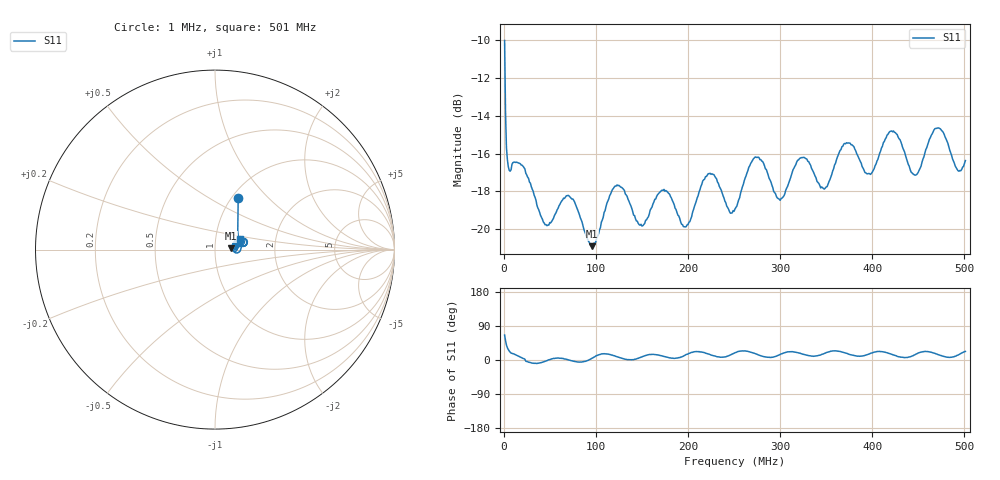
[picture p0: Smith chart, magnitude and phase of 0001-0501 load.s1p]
! NanoVNA-App by SYSJOINT et al v1.1.209 (+OD18)
! Date: 2025-09-17 10:01:50
! Start: 1MHz Stop: 501MHz Points: 501
! S-Parameter data: F S11
# Hz S RI R 50
!  Frequency  S11_Real  S11_Imag
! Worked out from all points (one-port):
!   501 points, 1 MHz to 501 MHz, reference 50 ohm
!   lowest |S11| = -20.9 dB at 96 MHz (marker M1), VSWR 1.20, Z = 59.9 + j0.918 ohm
!   |S11| at or under -10 dB: 1 MHz to end of sweep
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1000000  0.1293 0.2886
4000000  0.1291 0.0821
6000000  0.1311 0.0578
2.1e7  0.1465 0.0108
4.6e7  0.1028 -0.00457
6.4e7  0.1194 0.00792
7.6e7  0.1191 -0.00695
9.6e7  0.0899 0.00761
1.26e8  0.1293 0.0141
1.49e8  0.1022 0.0132
1.72e8  0.1248 0.0233
1.89e8  0.1085 0.0103
2e8  0.099 0.028
2.24e8  0.1363 0.0347
2.51e8  0.107 0.037
2.72e8  0.1472 0.047
2.99e8  0.1168 0.0279
3.14e8  0.1337 0.053
3.27e8  0.1498 0.037
3.49e8  0.1222 0.0402
3.76e8  0.1639 0.0413
3.97e8  0.1348 0.0391
4.23e8  0.1772 0.0419
4.39e8  0.1473 0.0194
4.49e8  0.1341 0.0417
4.71e8  0.1795 0.0468
4.92e8  0.1408 0.0309
5.01e8  0.1403 0.0585
